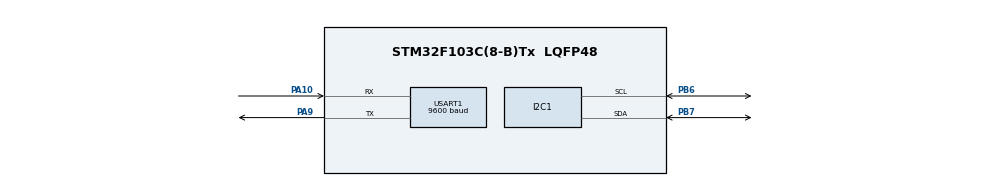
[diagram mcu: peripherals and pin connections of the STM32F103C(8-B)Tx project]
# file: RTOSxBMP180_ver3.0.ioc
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FREERTOS.Tasks01=defaultTask,0,128,StartDefaultTask,Default,NULL,Dynamic,NULL,NULL
Mcu.Family=STM32F1
Mcu.Name=STM32F103C(8-B)Tx
Mcu.Package=LQFP48
NVIC.PriorityGroup=NVIC_PRIORITYGROUP_4
NVIC.USART1_IRQn=true\:5\:0\:false\:false\:true\:true\:true\:true\:true
PA10.Mode=Asynchronous
PA10.Signal=USART1_RX
PA13.Mode=Serial_Wire
PA13.Signal=SYS_JTMS-SWDIO
PA14.Mode=Serial_Wire
PA14.Signal=SYS_JTCK-SWCLK
PA9.Mode=Asynchronous
PA9.Signal=USART1_TX
PB6.Mode=I2C
PB6.Signal=I2C1_SCL
PB7.Mode=I2C
PB7.Signal=I2C1_SDA
PD0-OSC_IN.Mode=HSE-External-Oscillator
PD0-OSC_IN.Signal=RCC_OSC_IN
PD1-OSC_OUT.Mode=HSE-External-Oscillator
PD1-OSC_OUT.Signal=RCC_OSC_OUT
ProjectManager.HeapSize=0x200
ProjectManager.StackSize=0x400
ProjectManager.TargetToolchain=STM32CubeIDE
RCC.APB1Freq_Value=8000000
RCC.APB2Freq_Value=8000000
USART1.BaudRate=9600
USART1.VirtualMode=VM_ASYNC
VP_FREERTOS_VS_CMSIS_V1.Mode=CMSIS_V1
board=custom

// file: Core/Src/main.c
/* USER CODE BEGIN Header */
/**
  ******************************************************************************
  * @file           : main.c
  * @brief          : Main program body
  ******************************************************************************
  * @attention
  *
  * Copyright (c) 2025 STMicroelectronics.
  * All rights reserved.
  *
  * This software is licensed under terms that can be found in the LICENSE file
  * in the root directory of this software component.
  * If no LICENSE file comes with this software, it is provided AS-IS.
  *
  ******************************************************************************
  */
/* USER CODE END Header */
#include "main.h"
#include "cmsis_os.h"

/* USER CODE BEGIN Includes */
#include <stdio.h>
#include <string.h>
/* USER CODE END Includes */

/* USER CODE BEGIN PD */
#define BMP180_ADDR (0x77 << 1)
/* USER CODE END PD */

I2C_HandleTypeDef hi2c1;

UART_HandleTypeDef huart1;

osThreadId defaultTaskHandle;
osThreadId SenDataTaskHandle;

void SystemClock_Config(void);
static void MX_GPIO_Init(void);
static void MX_I2C1_Init(void);
static void MX_USART1_UART_Init(void);
void StartDefaultTask(void const * argument);

/* USER CODE BEGIN PFP */
void SendDataTask(void const * argument);
/* USER CODE END PFP */

/* USER CODE BEGIN 0 */

osSemaphoreId sensorSemHandle;
osSemaphoreDef(sensorSem);

osSemaphoreId TxSemHandle;
osSemaphoreDef(TxSem);

// Global variables

typedef struct {
    uint16_t temperature;  // slave_data[0]
    uint16_t pressure;     // slave_data[1]
    uint16_t humidity;     // slave_data[2]
} SlaveData_t;

volatile SlaveData_t slave_data;

// Calib variables
int16_t AC1, AC2, AC3, B1, B2, MB, MC, MD;
uint16_t AC4, AC5, AC6;

// UART1
uint8_t rx_buff[100];
uint32_t rx_index = 0;
uint8_t rx_byte;

// Modbus
uint16_t ModbusIntervalData = 1000;

// Đọc 16-bit từ BMP180
int16_t BMP180_Read16(uint8_t reg)
{
    uint8_t buf[2];
    HAL_I2C_Mem_Read(&hi2c1, BMP180_ADDR, reg, 1, buf, 2, HAL_MAX_DELAY);
    return (buf[0] << 8) | buf[1];
}

// Read Calib data
void BMP180_ReadCalibration(void)
{
    AC1 = BMP180_Read16(0xAA);
    AC2 = BMP180_Read16(0xAC);
    AC3 = BMP180_Read16(0xAE);
    AC4 = BMP180_Read16(0xB0);
    AC5 = BMP180_Read16(0xB2);
    AC6 = BMP180_Read16(0xB4);
    B1  = BMP180_Read16(0xB6);
    B2  = BMP180_Read16(0xB8);
    MB  = BMP180_Read16(0xBA);
    MC  = BMP180_Read16(0xBC);
    MD  = BMP180_Read16(0xBE);
}

// Đọc nhiệt độ (T/10 = độ)
uint16_t BMP180_ReadTemperature(void)
{
    uint8_t cmd = 0x2E;
    uint8_t buf[2];

    // Trigger đo nhiệt độ
    HAL_I2C_Mem_Write(&hi2c1, BMP180_ADDR, 0xF4, 1, &cmd, 1, 1000);
    osDelay(5); // chờ ít nhất 4.5 ms

    // Đọc raw temperature
    HAL_I2C_Mem_Read(&hi2c1, BMP180_ADDR, 0xF6, 1, buf, 2, 1000);
    int32_t UT = (buf[0] << 8) | buf[1];

    // Quy đổi
    int32_t X1 = ((UT - (int32_t)AC6) * (int32_t)AC5) >> 15;
    int32_t X2 = ((int32_t)MC << 11) / (X1 + MD);
    int32_t B5 = X1 + X2;
    int16_t T = (B5 + 8) >> 4;
    return T;
}

// Hàm tính CRC16 Modbus (đa thức 0xA001)
void Modbus_CRC16(uint8_t *data, uint16_t length, uint8_t *crc_low, uint8_t *crc_high)
{
    uint16_t crc = 0xFFFF;

    for (uint16_t pos = 0; pos < length; pos++)
    {
        crc ^= data[pos]; // XOR byte

        for (uint8_t i = 0; i < 8; i++)
        {
            if (crc & 0x0001)   // nếu bit LSB = 1
            {
                crc >>= 1;
                crc ^= 0xA001;  // đa thức Modbus
            }
            else
            {
                crc >>= 1;
            }
        }
    }

    // Trả kết quả: CRC low trước, high sau (theo chuẩn Modbus RTU)
    *crc_low  = crc & 0xFF;
    *crc_high = (crc >> 8) & 0xFF;
}

void HAL_UART_RxCpltCallback(UART_HandleTypeDef *huart)
{
	uint8_t crc_l;
	uint8_t crc_h;

	if (huart->Instance == USART1)
	{
        rx_buff[rx_index++] = rx_byte;  // lưu byte nhận được

        // Nhận đủ 1 frame (8byte)
        if(rx_index == 6)
        {
        	// Check CRC
        	Modbus_CRC16(rx_buff, 4, &crc_l, &crc_h);
        	// Nếu CRC match
        	if((crc_l == rx_buff[4]) && (crc_h == rx_buff[5]))
        	{
        		// Check xem gói tin này có phải dành cho mình
        		if(rx_buff[0] == 0x05)
        		{
        			// Đúng, tách frame lấy data
        			// Nếu Func code == 0x04 => read data
        			if(rx_buff[1] == 0x04)
        			{
						// Nhả block task read temp sensor
						osSemaphoreRelease(TxSemHandle);
        			}
        			// Có thể add thêm các function khác
        		}
        	}
        	rx_index = 0;
        }
        // Tiếp tục nhận byte tiếp theo
        HAL_UART_Receive_IT(&huart1, &rx_byte, 1);
	}
}

void HAL_UART_TxCpltCallback(UART_HandleTypeDef *huart)
{

}

void FREERTOS_Init()
{
	  sensorSemHandle = osSemaphoreCreate(osSemaphore(sensorSem), 1);
	  osSemaphoreWait(sensorSemHandle, 0); // reset về 0
	  TxSemHandle = osSemaphoreCreate(osSemaphore(TxSem), 1);
	  osSemaphoreWait(TxSemHandle, 0); // reset về 0
}

/* USER CODE END 0 */

int main(void)
{

  /* MCU Configuration--------------------------------------------------------*/

  /* Reset of all peripherals, Initializes the Flash interface and the Systick. */
  HAL_Init();

  /* Configure the system clock */
  SystemClock_Config();

  /* Initialize all configured peripherals */
  MX_GPIO_Init();
  MX_I2C1_Init();
  MX_USART1_UART_Init();
  /* USER CODE BEGIN 2 */
  FREERTOS_Init();
  BMP180_ReadCalibration();
  /* USER CODE END 2 */

  /* Create the thread(s) */
  /* definition and creation of defaultTask */
  osThreadDef(defaultTask, StartDefaultTask, osPriorityNormal, 0, 128);
  defaultTaskHandle = osThreadCreate(osThread(defaultTask), NULL);

  /* USER CODE BEGIN RTOS_THREADS */
  /* add threads, ... */
  osThreadDef(SendTask, SendDataTask, osPriorityNormal, 0, 128);
  SenDataTaskHandle = osThreadCreate(osThread(SendTask), NULL);
  /* USER CODE END RTOS_THREADS */

  /* Start scheduler */
  osKernelStart();

  /* We should never get here as control is now taken by the scheduler */

  /* Infinite loop */
  while (1)
  {

  }
}

void SystemClock_Config(void)
{
  RCC_OscInitTypeDef RCC_OscInitStruct = {0};
  RCC_ClkInitTypeDef RCC_ClkInitStruct = {0};

  /** Initializes the RCC Oscillators according to the specified parameters
  * in the RCC_OscInitTypeDef structure.
  */
  RCC_OscInitStruct.OscillatorType = RCC_OSCILLATORTYPE_HSI;
  RCC_OscInitStruct.HSIState = RCC_HSI_ON;
  RCC_OscInitStruct.HSICalibrationValue = RCC_HSICALIBRATION_DEFAULT;
  RCC_OscInitStruct.PLL.PLLState = RCC_PLL_NONE;
  if (HAL_RCC_OscConfig(&RCC_OscInitStruct) != HAL_OK)
  {
    Error_Handler();
  }

  /** Initializes the CPU, AHB and APB buses clocks
  */
  RCC_ClkInitStruct.ClockType = RCC_CLOCKTYPE_HCLK|RCC_CLOCKTYPE_SYSCLK
                              |RCC_CLOCKTYPE_PCLK1|RCC_CLOCKTYPE_PCLK2;
  RCC_ClkInitStruct.SYSCLKSource = RCC_SYSCLKSOURCE_HSI;
  RCC_ClkInitStruct.AHBCLKDivider = RCC_SYSCLK_DIV1;
  RCC_ClkInitStruct.APB1CLKDivider = RCC_HCLK_DIV1;
  RCC_ClkInitStruct.APB2CLKDivider = RCC_HCLK_DIV1;

  if (HAL_RCC_ClockConfig(&RCC_ClkInitStruct, FLASH_LATENCY_0) != HAL_OK)
  {
    Error_Handler();
  }
}

static void MX_I2C1_Init(void)
{

  hi2c1.Instance = I2C1;
  hi2c1.Init.ClockSpeed = 100000;
  hi2c1.Init.DutyCycle = I2C_DUTYCYCLE_2;
  hi2c1.Init.OwnAddress1 = 0;
  hi2c1.Init.AddressingMode = I2C_ADDRESSINGMODE_7BIT;
  hi2c1.Init.DualAddressMode = I2C_DUALADDRESS_DISABLE;
  hi2c1.Init.OwnAddress2 = 0;
  hi2c1.Init.GeneralCallMode = I2C_GENERALCALL_DISABLE;
  hi2c1.Init.NoStretchMode = I2C_NOSTRETCH_DISABLE;
  if (HAL_I2C_Init(&hi2c1) != HAL_OK)
  {
    Error_Handler();
  }

}

static void MX_USART1_UART_Init(void)
{

  huart1.Instance = USART1;
  huart1.Init.BaudRate = 9600;
  huart1.Init.WordLength = UART_WORDLENGTH_8B;
  huart1.Init.StopBits = UART_STOPBITS_1;
  huart1.Init.Parity = UART_PARITY_NONE;
  huart1.Init.Mode = UART_MODE_TX_RX;
  huart1.Init.HwFlowCtl = UART_HWCONTROL_NONE;
  huart1.Init.OverSampling = UART_OVERSAMPLING_16;
  if (HAL_UART_Init(&huart1) != HAL_OK)
  {
    Error_Handler();
  }

}

static void MX_GPIO_Init(void)
{

  /* GPIO Ports Clock Enable */
  __HAL_RCC_GPIOD_CLK_ENABLE();
  __HAL_RCC_GPIOA_CLK_ENABLE();
  __HAL_RCC_GPIOB_CLK_ENABLE();

}

/* USER CODE BEGIN 4 */
void SendDataTask(void const * argument)
{
	uint8_t tx_buff[6];
	uint8_t crc_l;
	uint8_t crc_h;
	for(;;)
	{
	    // wait, chờ đến khi có request
	    if (osSemaphoreWait(TxSemHandle, osWaitForever) == osOK)
	    {
			// Nếu addr data = 0x00 => master muốn đọc temp
			if(rx_buff[3] == 0)
			{
				tx_buff[0] = 0x05;
				tx_buff[1] = rx_buff[1];
				tx_buff[2] = (uint8_t)(slave_data.temperature >> 8);   // high byte
				tx_buff[3] = (uint8_t)(slave_data.temperature & 0xFF); // low byte
	        	// Check CRC
	        	Modbus_CRC16(tx_buff, 4, &crc_l, &crc_h);
	        	tx_buff[4] = crc_l;
	        	tx_buff[5] = crc_h;
				HAL_UART_Transmit_IT(&huart1, tx_buff, 6);
			}
	    }
	}
}
/* USER CODE END 4 */

void StartDefaultTask(void const * argument)
{
  /* USER CODE BEGIN 5 */
	HAL_UART_Receive_IT(&huart1, &rx_byte, 1); // nhận 1 byte
  /* Infinite loop */
  for(;;)
  {
	   slave_data.temperature = BMP180_ReadTemperature();
	   osDelay(100);
  }
  /* USER CODE END 5 */
}

void Error_Handler(void)
{
  __disable_irq();
  while (1)
  {
  }
}
